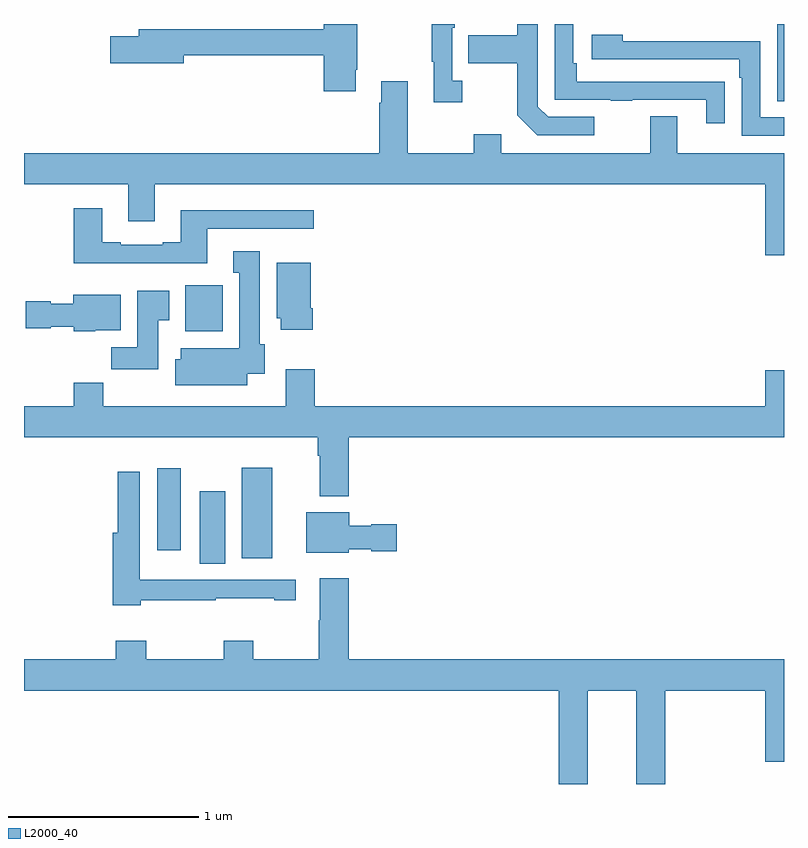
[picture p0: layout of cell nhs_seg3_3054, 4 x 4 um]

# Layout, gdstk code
import gdstk
lib = gdstk.Library(unit=1e-6, precision=1e-09)
def R(c, l, rs):  # rectangles x0, y0, x1, y1
    for r in rs: c.add(gdstk.rectangle(r[:2], r[2:], *l))
def P(c, l, *ps):  # polygons
    for p in ps: c.add(gdstk.Polygon(p, *l))
L2000_40 = (2000, 40)

nhs_seg3_3054 = lib.new_cell('nhs_seg3_3054')
R(nhs_seg3_3054, L2000_40, [(269.924,725.56,270.058,725.941), (270.146,725.589,270.307,726.064), (269.702,725.631,269.824,726.061), (269.849,726.782,270.046,727.024), (272.964,727.993,273,728.4)])
P(nhs_seg3_3054, L2000_40, [(270.745,728.158),(270.753,728.158),(270.753,728.4),(270.578,728.4),(270.578,728.372),(269.603,728.372),(269.603,728.336),(269.454,728.336),(269.454,728.194),(269.842,728.194),(269.842,728.236),(270.578,728.236),(270.578,728.046),(270.745,728.046)],
  [(271.306,728.102),(271.254,728.102),(271.254,728.381),(271.267,728.381),(271.267,728.4),(271.146,728.4),(271.146,728.201),(271.157,728.201),(271.157,727.989),(271.306,727.989)],
  [(272.002,727.911),(271.758,727.911),(271.704,727.965),(271.704,728.4),(271.596,728.4),(271.596,728.341),(271.339,728.341),(271.339,728.194),(271.596,728.194),(271.596,727.921),(271.701,727.815),(272.002,727.815)],
  [(272.687,728.096),(272.585,728.096),(272.585,728.097),(271.91,728.097),(271.91,728.194),(271.89,728.194),(271.89,728.4),(271.794,728.4),(271.794,728.001),(272.089,728.001),(272.089,727.996),(272.201,727.996),(272.201,728.001),(272.591,728.001),(272.591,727.878),(272.687,727.878)],
  [(273,727.908),(272.874,727.908),(272.874,728.31),(272.15,728.31),(272.15,728.344),(271.989,728.344),(271.989,728.214),(272.765,728.214),(272.765,728.117),(272.778,728.117),(272.778,727.812),(273,727.812)],
  [(273,727.72),(272.437,727.72),(272.437,727.915),(272.297,727.915),(272.297,727.72),(271.513,727.72),(271.513,727.819),(271.366,727.819),(271.366,727.72),(271.021,727.72),(271.021,728.098),(270.881,728.098),(270.881,727.985),(270.869,727.985),(270.869,727.72),(269,727.72),(269,727.556),(269.549,727.556),(269.549,727.362),(269.689,727.362),(269.689,727.556),(272.9,727.556),(272.9,727.182),(273,727.182)],
  [(269.965,727.323),(270.526,727.323),(270.526,727.42),(269.825,727.42),(269.825,727.252),(269.729,727.252),(269.729,727.239),(269.509,727.239),(269.509,727.252),(269.413,727.252),(269.413,727.429),(269.261,727.429),(269.261,727.142),(269.965,727.142)],
  [(270.175,726.56),(270.268,726.56),(270.268,726.714),(270.241,726.714),(270.241,727.204),(270.101,727.204),(270.101,727.091),(270.134,727.091),(270.134,726.694),(269.825,726.694),(269.825,726.635),(269.795,726.635),(269.795,726.5),(270.175,726.5)],
  [(270.521,726.904),(270.508,726.904),(270.508,727.144),(270.329,727.144),(270.329,726.852),(270.35,726.852),(270.35,726.792),(270.521,726.792)],
  [(269.707,726.841),(269.764,726.841),(269.764,726.997),(269.597,726.997),(269.597,726.7),(269.458,726.7),(269.458,726.582),(269.707,726.582)],
  [(269.376,726.788),(269.509,726.788),(269.509,726.976),(269.258,726.976),(269.258,726.928),(269.142,726.928),(269.142,726.941),(269.01,726.941),(269.01,726.799),(269.142,726.799),(269.142,726.806),(269.262,726.806),(269.262,726.782),(269.376,726.782)],
  [(270.71,726.224),(273,726.224),(273,726.577),(272.9,726.577),(272.9,726.388),(270.53,726.388),(270.53,726.583),(270.377,726.583),(270.377,726.388),(269.417,726.388),(269.417,726.512),(269.261,726.512),(269.261,726.388),(269,726.388),(269,726.224),(270.545,726.224),(270.545,726.128),(270.557,726.128),(270.557,725.915),(270.71,725.915)],
  [(269.615,725.367),(270.008,725.367),(270.008,725.377),(270.317,725.377),(270.317,725.367),(270.43,725.367),(270.43,725.475),(269.82,725.475),(269.82,725.476),(269.61,725.476),(269.61,726.043),(269.494,726.043),(269.494,725.722),(269.468,725.722),(269.468,725.342),(269.615,725.342)],
  [(270.708,725.636),(270.828,725.636),(270.828,725.624),(270.961,725.624),(270.961,725.766),(270.828,725.766),(270.828,725.758),(270.712,725.758),(270.712,725.83),(270.485,725.83),(270.485,725.618),(270.708,725.618)],
  [(271.966,724.892),(272.222,724.892),(272.222,724.4),(272.375,724.4),(272.375,724.892),(272.9,724.892),(272.9,724.518),(273,724.518),(273,725.056),(270.71,725.056),(270.71,725.482),(270.557,725.482),(270.557,725.261),(270.55,725.261),(270.55,725.056),(270.207,725.056),(270.207,725.155),(270.052,725.155),(270.052,725.056),(269.643,725.056),(269.643,725.155),(269.483,725.155),(269.483,725.056),(269,725.056),(269,724.892),(271.814,724.892),(271.814,724.4),(271.966,724.4)])

lib.write_gds('nhs_seg3_3054.gds')
